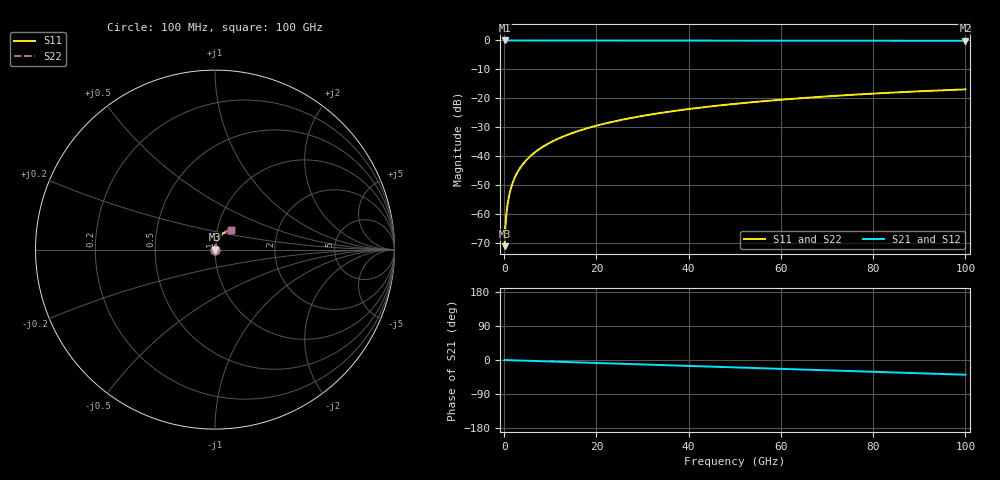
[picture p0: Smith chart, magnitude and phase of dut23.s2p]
! Touchstone file exported from HFSS 2026.1.0
!  File:  C:/ffzhzh/LocalFiles/Ansys_Project_Files/temp_train_TSV_23_1783504462_41296.aedt
!  Generated:  05:55:39 PM Jul  8, 2026
!  Design:  TSV
!  Project:  temp_train_TSV_23_1783504462_41296
! Variables:
!  h_bsmrdl = 2um
!  h_ox = 20um
!  h_rdl = 5um
!  h_sub = 74.99um
!  h_tmrdl = 5um
!  h_tsv = 74.99um
!  h_via = 3um
!  l_bsmrdl = 300um
!  l_sub = 415.3um
!  l_tmrdl = 200um
!  m_sub = 200um
!  pitch = 42.37um
!  r_tsv = 7.65um
!  s_tmrdl = 10um
!  w_bsmrdl = 18um
!  w_sub = 500um
!  w_tmrdl = 12um
!  x_tsv_center1 = 206um
!  x_tsv_center2 = 524um
!  x_tsv_center3 = 736um
!  x_tsv_center4 = 1054um
!  x_tsv_center5 = 1266um
!  x_tsv_center6 = 1584um
# GHz S MA R 50.000000
! Terminal data exported
! Port[1] = TSV1_1_T1
! Port[2] = TSV1_1_T2
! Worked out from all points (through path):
!   1000 points, 100 MHz to 100 GHz, reference 50 ohm
!   highest |S21| = 0.00 dB at 100 MHz (marker M1); lowest = -0.1 dB at 100 GHz (marker M2)
!   group delay of S21, straight-line fit = 1.08 ps
!   lowest |S11| = -71.1 dB at 100 MHz (marker M3), VSWR 1.00, Z = 50 + j0.021 ohm
!   |S11| at or under -10 dB: start of sweep to end of sweep
!   |S22| runs from -71.1 to -16.9 dB; largest |S21 - S12| = 6.3e-15
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0.1  0.0002784 49.0  0.9998 -0.0  0.9998 -0.0  0.0002784 49.0
! Gamma 0 0 0 0
! Port Impedance 50 0 50 0
0.4  0.0008397 74.0  0.9998 -0.2  0.9998 -0.2  0.0008397 74.0
0.7  0.001396 78.3  0.9997 -0.3  0.9997 -0.3  0.001396 78.3
0.8  0.001579 79.1  0.9997 -0.3  0.9997 -0.3  0.001579 79.1
1.1  0.002125 80.6  0.9997 -0.4  0.9997 -0.4  0.002125 80.6
1.4  0.002666 81.5  0.9996 -0.6  0.9996 -0.6  0.002666 81.5
1.9  0.003554 82.2  0.9996 -0.8  0.9996 -0.8  0.003554 82.2
2.4  0.004428 82.6  0.9995 -1.0  0.9995 -1.0  0.004428 82.6
3  0.005462 82.9  0.9994 -1.2  0.9994 -1.2  0.005462 82.9
3.8  0.006824 83.1  0.9993 -1.5  0.9993 -1.5  0.006824 83.1
4.8  0.008515 83.3  0.9992 -1.9  0.9992 -1.9  0.008515 83.3
6  0.01054 83.3  0.9992 -2.4  0.9992 -2.4  0.01054 83.3
8.8  0.01522 82.9  0.9989 -3.5  0.9989 -3.5  0.01522 82.9
12.4  0.02119 82.0  0.9986 -4.9  0.9986 -4.9  0.02119 82.0
16.8  0.02842 80.6  0.9982 -6.6  0.9982 -6.6  0.02842 80.7
24.2  0.04041 78.2  0.9976 -9.5  0.9976 -9.5  0.04041 78.2
33.4  0.05502 74.9  0.9966 -13.1  0.9966 -13.1  0.05502 75.0
41.2  0.06706 72.1  0.9956 -16.1  0.9956 -16.1  0.06706 72.1
50.1  0.08036 68.8  0.9945 -19.6  0.9945 -19.6  0.08036 68.8
66.7  0.1037 62.6  0.992 -26.0  0.992 -26.0  0.1037 62.6
83.4  0.1247 56.3  0.9892 -32.5  0.9892 -32.5  0.1247 56.3
100  0.1427 50.0  0.9865 -38.8  0.9865 -38.8  0.1427 50.1
